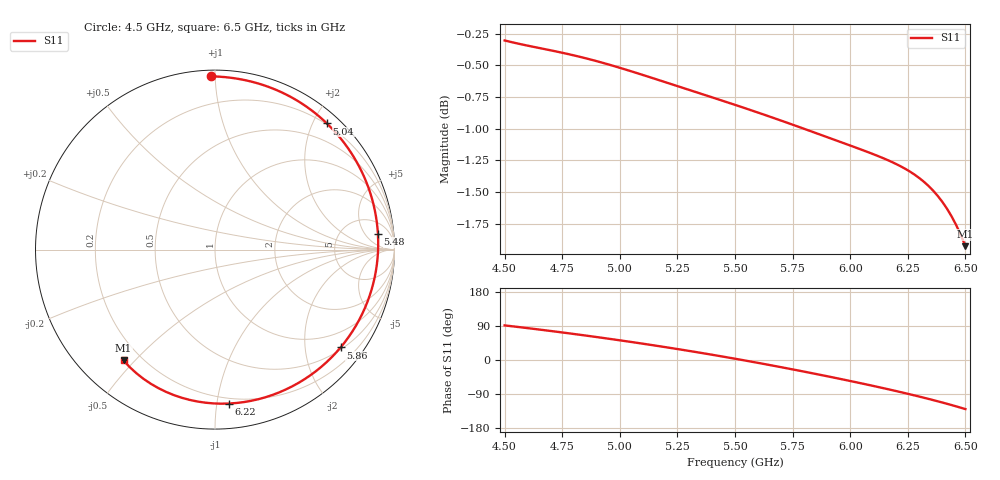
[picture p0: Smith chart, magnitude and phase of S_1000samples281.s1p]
! TOUCHSTONE file generated by CST MICROWAVE STUDIO
! Date and time: Thu Oct 27 15:05:09 2022
! Project name: L.cst
! Parameters = {Di=1.27; Epsilon_r=1.56; InnerDiameter=1.27; Length=2; Lf=10; Lg=60; OuterConductorThickness=0.2921; OuterDiameter=3.6; Wf=3; Wp=41.2; de=1.5; df=6.8; g=0.8; gx=4.66426; gy=2.85727; h=2.34; hf=1.524; px=8.75024; py=12.7092; w=9.7; wx=4.08599; wy=9.85198}
! Header version: 2018
! Port assignment regex: !\s*Touchstone port\s*([0-9]+)\s*=\s*(CST MWS port|CST DS port)\s*([0-9]+|Zmin|Zmax)\s*\(\"(.*)\"\)(\s*mode\s*([0-9]+))?.*
! Touchstone port assignment:
! Touchstone port 1 = CST MWS port 1 ("")
# GHz S DB R 50
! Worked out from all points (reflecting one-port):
!   101 points, 4.5 GHz to 6.5 GHz, reference 50 ohm
!   lowest |S11| = -1.9 dB at 6.5 GHz (marker M1), VSWR 9.04, Z = 6.74 - j23.2 ohm
!   phase of S11 starts at 91 deg and turns -221 deg over the sweep
!   S11 on the Smith chart (normalised r, x): 4.5 GHz: 0.03, +0.98; 5.04 GHz: 0.18, +2.21; 5.48 GHz: 10, +11; 5.86 GHz: 0.55, -2.81; 6.22 GHz: 0.16, -1.08; 6.5 GHz: 0.13, -0.46
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4.5  -0.30 91.3
4.64  -0.36 81.1
4.76  -0.41 71.9
4.88  -0.46 62.2
5  -0.52 52.0
5.04  -0.54 48.4
5.14  -0.60 39.3
5.26  -0.67 28.0
5.32  -0.71 22.0
5.38  -0.74 16.0
5.48  -0.80 5.5
5.5  -0.81 3.4
5.58  -0.86 -5.4
5.64  -0.90 -12.1
5.7  -0.94 -18.9
5.76  -0.98 -26.0
5.86  -1.04 -37.9
5.92  -1.08 -45.3
6  -1.13 -55.4
6.06  -1.17 -63.1
6.12  -1.22 -71.1
6.18  -1.26 -79.3
6.22  -1.30 -84.9
6.26  -1.34 -90.6
6.32  -1.42 -99.6
6.38  -1.53 -109.0
6.44  -1.69 -118.9
6.5  -1.93 -129.5
